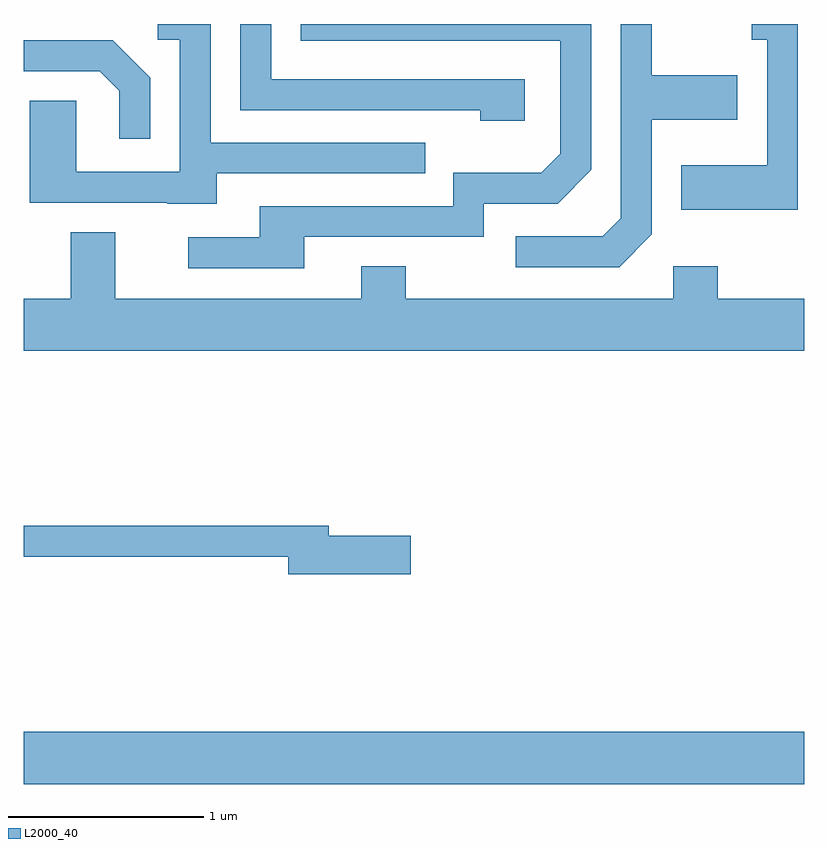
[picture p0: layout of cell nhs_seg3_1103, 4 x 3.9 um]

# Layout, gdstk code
import gdstk
lib = gdstk.Library(unit=1e-6, precision=1e-09)
def R(c, l, rs):  # rectangles x0, y0, x1, y1
    for r in rs: c.add(gdstk.rectangle(r[:2], r[2:], *l))
def P(c, l, *ps):  # polygons
    for p in ps: c.add(gdstk.Polygon(p, *l))
L2000_40 = (2000, 40)

nhs_seg3_1103 = lib.new_cell('nhs_seg3_1103')
R(nhs_seg3_1103, L2000_40, [(217.611,1145.996,221.611,1146.264)])
P(nhs_seg3_1103, L2000_40, [(219.049,1148.801),(219.969,1148.801),(219.969,1148.971),(220.347,1148.971),(220.519,1149.144),(220.519,1149.892),(219.031,1149.892),(219.031,1149.806),(220.361,1149.806),(220.361,1149.227),(220.264,1149.129),(219.811,1149.129),(219.811,1148.959),(218.821,1148.959),(218.821,1148.799),(218.453,1148.799),(218.453,1148.641),(219.049,1148.641)],
  [(221.579,1149.892),(221.343,1149.892),(221.343,1149.811),(221.421,1149.811),(221.421,1149.169),(220.981,1149.169),(220.981,1148.941),(221.579,1148.941)],
  [(220.179,1149.609),(218.879,1149.609),(218.879,1149.892),(218.721,1149.892),(218.721,1149.451),(219.951,1149.451),(219.951,1149.396),(220.179,1149.396)],
  [(218.599,1149.126),(219.668,1149.126),(219.668,1149.284),(218.569,1149.284),(218.569,1149.892),(218.298,1149.892),(218.298,1149.811),(218.411,1149.811),(218.411,1149.134),(217.879,1149.134),(217.879,1149.499),(217.641,1149.499),(217.641,1148.976),(218.345,1148.976),(218.345,1148.971),(218.599,1148.971)],
  [(220.829,1148.814),(220.829,1149.401),(221.269,1149.401),(221.269,1149.629),(220.829,1149.629),(220.829,1149.892),(220.671,1149.892),(220.671,1148.897),(220.579,1148.804),(220.133,1148.804),(220.133,1148.646),(220.662,1148.646)],
  [(218.259,1149.617),(218.067,1149.809),(217.611,1149.809),(217.611,1149.651),(217.999,1149.651),(218.101,1149.549),(218.101,1149.303),(218.259,1149.303)],
  [(221.611,1148.484),(221.169,1148.484),(221.169,1148.649),(220.941,1148.649),(220.941,1148.484),(219.569,1148.484),(219.569,1148.649),(219.341,1148.649),(219.341,1148.484),(218.079,1148.484),(218.079,1148.824),(217.851,1148.824),(217.851,1148.484),(217.611,1148.484),(217.611,1148.216),(221.611,1148.216)],
  [(219.594,1147.269),(219.174,1147.269),(219.174,1147.319),(217.611,1147.319),(217.611,1147.161),(218.966,1147.161),(218.966,1147.071),(219.594,1147.071)])

lib.write_gds('nhs_seg3_1103.gds')
